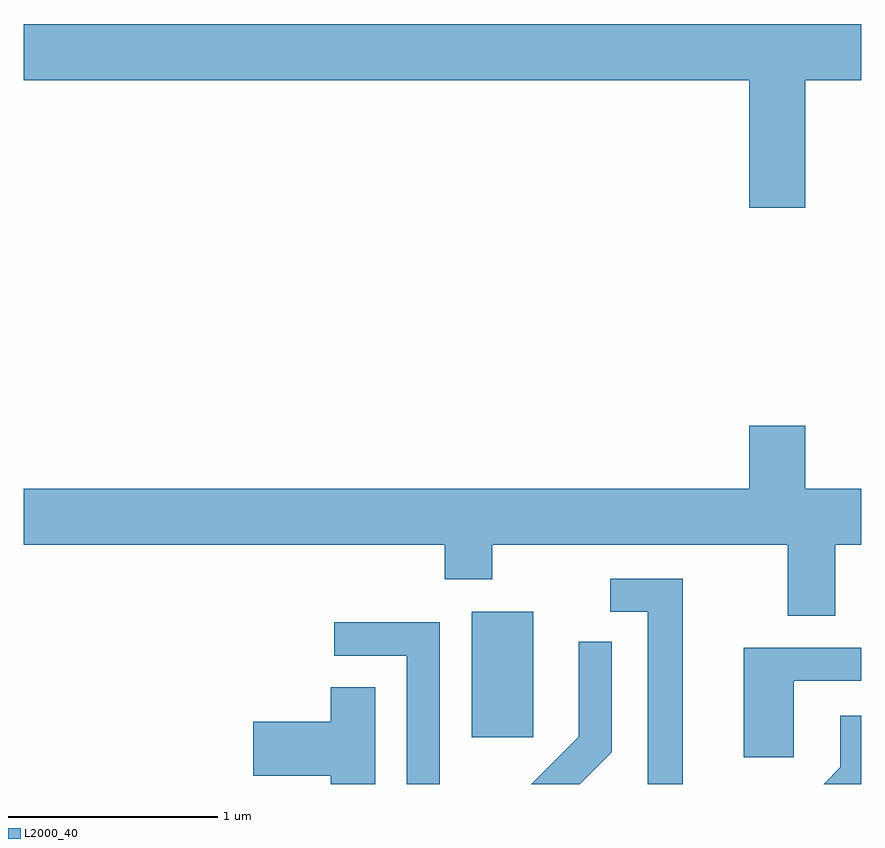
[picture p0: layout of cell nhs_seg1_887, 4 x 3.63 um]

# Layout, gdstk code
import gdstk
lib = gdstk.Library(unit=1e-6, precision=1e-09)
def R(c, l, rs):  # rectangles x0, y0, x1, y1
    for r in rs: c.add(gdstk.rectangle(r[:2], r[2:], *l))
def P(c, l, *ps):  # polygons
    for p in ps: c.add(gdstk.Polygon(p, *l))
L2000_40 = (2000, 40)

nhs_seg1_887 = lib.new_cell('nhs_seg1_887')
R(nhs_seg1_887, L2000_40, [(213.751,951.936,214.044,952.534)])
P(nhs_seg1_887, L2000_40, [(215.344,955.076),(215.611,955.076),(215.611,955.344),(211.611,955.344),(211.611,955.076),(215.076,955.076),(215.076,954.466),(215.344,954.466)],
  [(215.489,952.856),(215.611,952.856),(215.611,953.124),(215.344,953.124),(215.344,953.424),(215.076,953.424),(215.076,953.124),(211.611,953.124),(211.611,952.856),(213.621,952.856),(213.621,952.691),(213.849,952.691),(213.849,952.856),(215.261,952.856),(215.261,952.516),(215.489,952.516)],
  [(214.759,952.694),(214.413,952.694),(214.413,952.536),(214.591,952.536),(214.591,951.712),(214.759,951.712)],
  [(213.599,952.484),(213.093,952.484),(213.093,952.326),(213.441,952.326),(213.441,951.712),(213.599,951.712)],
  [(214.419,951.864),(214.419,952.393),(214.261,952.393),(214.261,951.937),(214.036,951.712),(214.267,951.712)],
  [(215.289,952.206),(215.611,952.206),(215.611,952.364),(215.051,952.364),(215.051,951.841),(215.289,951.841)],
  [(213.289,952.174),(213.076,952.174),(213.076,952.009),(212.706,952.009),(212.706,951.751),(213.076,951.751),(213.076,951.712),(213.289,951.712)],
  [(215.611,952.038),(215.511,952.038),(215.511,951.792),(215.432,951.712),(215.611,951.712)])

lib.write_gds('nhs_seg1_887.gds')
